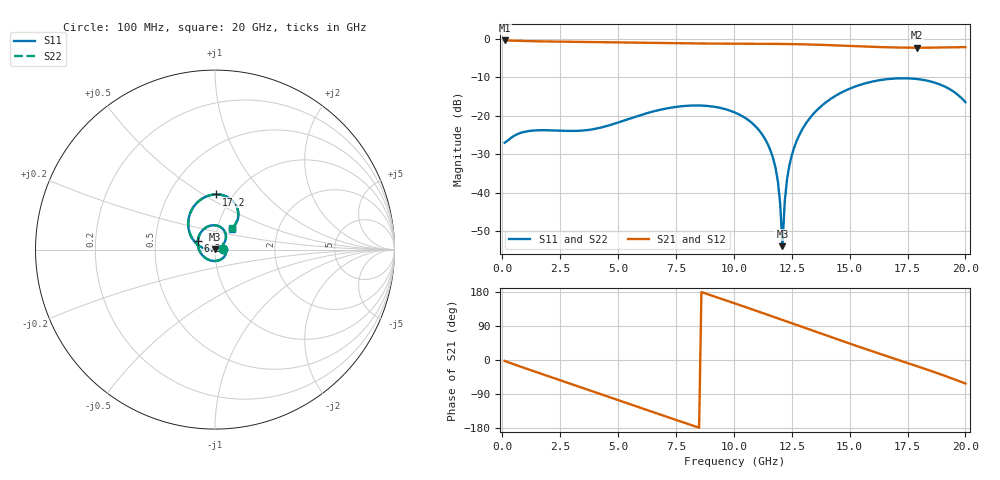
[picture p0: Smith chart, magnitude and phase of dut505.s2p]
! Touchstone file exported from HFSS 2026.1.0
!  File:  C:/ffzhzh/LocalFiles/Ansys_Project_Files/temp_train_TSV_RDL_505_1783108170_53076.aedt
!  Generated:  03:58:22 AM Jul  4, 2026
!  Design:  TSV_RDL
!  Project:  temp_train_TSV_RDL_505_1783108170_53076
! Variables:
!  h_bsmrdl = 2.24um
!  h_ox = 20um
!  h_rdl = 5um
!  h_sub = 91.94um
!  h_tmrdl = 2.54um
!  h_tsv = 91.94um
!  h_via = 3um
!  l_bsmrdl = 669.87um
!  l_sub = 6130.54um
!  l_tmrdl = 901.83um
!  m_sub = 200um
!  pitch = 23.96um
!  r_tsv = 11.25um
!  s_tmrdl = 10um
!  w_bsmrdl = 20.92um
!  w_sub = 500um
!  w_tmrdl = 16.95um
!  x_tsv_center1 = 910.305um
!  x_tsv_center2 = 1601.095um
!  x_tsv_center3 = 2519.875um
!  x_tsv_center4 = 3210.665um
!  x_tsv_center5 = 4129.445um
!  x_tsv_center6 = 4820.235um
# GHz S MA R 50.000000
! Terminal data exported
! Port[1] = TM_RDL1_1_T1
! Port[2] = TM_RDL5_1_T1
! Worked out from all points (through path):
!   200 points, 100 MHz to 20 GHz, reference 50 ohm
!   highest |S21| = -0.39 dB at 100 MHz (marker M1); lowest = -2.3 dB at 17.9 GHz (marker M2)
!   group delay of S21, straight-line fit = 58.3 ps
!   lowest |S11| = -54.0 dB at 12.1 GHz (marker M3), VSWR 1.00, Z = 49.9 + j0.189 ohm
!   |S11| at or under -10 dB: start of sweep to end of sweep
!   |S22| runs from -53.7 to -10.2 dB; largest |S21 - S12| = 2.6e-14
!   S11 on the Smith chart (normalised r, x): 100 MHz: 1.09, +0.01; 6.2 GHz: 0.82, +0.08; 17.2 GHz: 0.84, +0.57; 20 GHz: 1.17, +0.28
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0.1  0.04448 2.9  0.9557 -2.4  0.9557 -2.4  0.04448 3.0
! Gamma 0 0 0 0
! Port Impedance 50 0 50 0
1.7  0.06484 -35.0  0.9296 -36.7  0.9296 -36.7  0.06476 -35.0
3.5  0.06431 -103.4  0.9178 -74.5  0.9178 -74.5  0.06409 -103.5
4.8  0.07809 -158.2  0.9074 -101.8  0.9074 -101.8  0.07787 -158.4
6.2  0.1071 153.6  0.8935 -131.1  0.8935 -131.1  0.1069 153.3
6.8  0.1193 136.3  0.8874 -143.6  0.8874 -143.6  0.1193 136.1
8.4  0.1361 95.9  0.8738 -176.6  0.8738 -176.6  0.1361 95.8
10.1  0.1085 57.7  0.8672 148.2  0.8672 148.2  0.1085 57.6
11  0.06947 38.5  0.8654 129.2  0.8654 129.2  0.06949 38.5
11.6  0.03419 27.0  0.8634 116.4  0.8634 116.4  0.03421 27.1
11.9  0.01413 25.3  0.8618 110.0  0.8618 110.0  0.01416 25.5
12  0.007232 31.0  0.8611 107.8  0.8611 107.8  0.007267 31.4
12.1  0.002005 109.5  0.8605 105.7  0.8605 105.7  0.002067 108.8
12.2  0.007823 175.9  0.8597 103.5  0.8597 103.5  0.007823 175.4
12.4  0.0227 -178.8  0.858 99.2  0.858 99.2  0.02269 -178.9
12.8  0.05402 175.5  0.8537 90.5  0.8537 90.5  0.054 175.4
13.4  0.1029 163.6  0.8449 77.5  0.8449 77.5  0.1029 163.6
15.1  0.2314 128.8  0.8089 41.2  0.8089 41.2  0.2314 128.9
16.7  0.3013 98.0  0.7777 8.4  0.7777 8.4  0.3013 98.2
17.2  0.3074 88.9  0.7722 -1.8  0.7722 -1.8  0.3074 89.1
17.9  0.3009 76.5  0.7691 -16.0  0.7691 -16.0  0.3009 76.8
20  0.1505 50.8  0.782 -62.0  0.782 -62.0  0.1513 51.6
